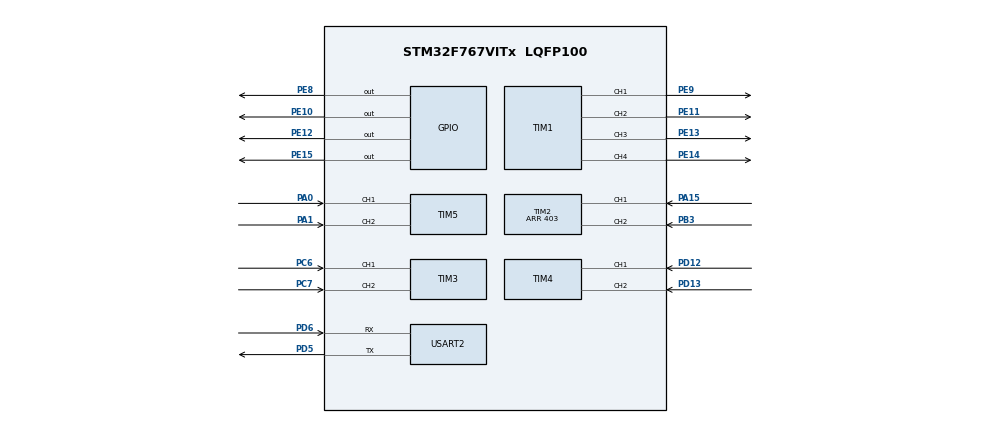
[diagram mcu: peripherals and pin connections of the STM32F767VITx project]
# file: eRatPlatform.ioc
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Mcu.Family=STM32F7
Mcu.Name=STM32F767VITx
Mcu.Package=LQFP100
NVIC.PriorityGroup=NVIC_PRIORITYGROUP_4
PA0/WKUP.Signal=S_TIM5_CH1
PA1.Signal=S_TIM5_CH2
PA13.Mode=Serial_Wire
PA13.Signal=SYS_JTMS-SWDIO
PA14.Mode=Serial_Wire
PA14.Signal=SYS_JTCK-SWCLK
PA15.Signal=S_TIM2_CH1_ETR
PB3.Signal=S_TIM2_CH2
PC14/OSC32_IN.Mode=LSE-External-Oscillator
PC14/OSC32_IN.Signal=RCC_OSC32_IN
PC15/OSC32_OUT.Mode=LSE-External-Oscillator
PC15/OSC32_OUT.Signal=RCC_OSC32_OUT
PC6.Signal=S_TIM3_CH1
PC7.Signal=S_TIM3_CH2
PD12.Signal=S_TIM4_CH1
PD13.Signal=S_TIM4_CH2
PD5.Mode=Asynchronous
PD5.Signal=USART2_TX
PD6.Mode=Asynchronous
PD6.Signal=USART2_RX
PE10.Signal=GPIO_Output
PE11.Signal=S_TIM1_CH2
PE12.Signal=GPIO_Output
PE13.Signal=S_TIM1_CH3
PE14.Signal=S_TIM1_CH4
PE15.Signal=GPIO_Output
PE8.Signal=GPIO_Output
PE9.Signal=S_TIM1_CH1
PH0/OSC_IN.Mode=HSE-External-Oscillator
PH0/OSC_IN.Signal=RCC_OSC_IN
PH1/OSC_OUT.Mode=HSE-External-Oscillator
PH1/OSC_OUT.Signal=RCC_OSC_OUT
ProjectManager.HeapSize=0x200
ProjectManager.StackSize=0x400
ProjectManager.TargetToolchain=SW4STM32
RCC.HSE_VALUE=25000000
RCC.HSI_VALUE=16000000
RCC.PLLM=15
RCC.PLLN=144
RCC.PLLQ=5
RCC.PLLSourceVirtual=RCC_PLLSOURCE_HSE
RCC.USBFreq_Value=48000000
RCC.VCOOutputFreq_Value=240000000
SH.S_TIM1_CH1.0=TIM1_CH1,PWM Generation1 CH1
SH.S_TIM1_CH2.0=TIM1_CH2,PWM Generation2 CH2
SH.S_TIM1_CH3.0=TIM1_CH3,PWM Generation3 CH3
SH.S_TIM1_CH4.0=TIM1_CH4,PWM Generation4 CH4
SH.S_TIM2_CH1_ETR.0=TIM2_CH1,Encoder_Interface
SH.S_TIM2_CH2.0=TIM2_CH2,Encoder_Interface
SH.S_TIM3_CH1.0=TIM3_CH1,Encoder_Interface
SH.S_TIM3_CH2.0=TIM3_CH2,Encoder_Interface
SH.S_TIM4_CH1.0=TIM4_CH1,Encoder_Interface
SH.S_TIM4_CH2.0=TIM4_CH2,Encoder_Interface
SH.S_TIM5_CH1.0=TIM5_CH1,Encoder_Interface
SH.S_TIM5_CH2.0=TIM5_CH2,Encoder_Interface
TIM1.Channel-PWM\ Generation1\ CH1=TIM_CHANNEL_1
TIM1.Channel-PWM\ Generation2\ CH2=TIM_CHANNEL_2
TIM1.Channel-PWM\ Generation3\ CH3=TIM_CHANNEL_3
TIM1.Channel-PWM\ Generation4\ CH4=TIM_CHANNEL_4
TIM2.IC2Filter=15
TIM2.Period=403
USART2.VirtualMode-Asynchronous=VM_ASYNC
board=custom

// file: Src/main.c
/**
  ******************************************************************************
  * @file           : main.c
  * @brief          : Main program body
  ******************************************************************************
  ** This notice applies to any and all portions of this file
  * that are not between comment pairs USER CODE BEGIN and
  * USER CODE END. Other portions of this file, whether
  * inserted by the user or by software development tools
  * are owned by their respective copyright owners.
  *
  * COPYRIGHT(c) 2018 STMicroelectronics
  *
  * Redistribution and use in source and binary forms, with or without modification,
  * are permitted provided that the following conditions are met:
  *   1. Redistributions of source code must retain the above copyright notice,
  *      this list of conditions and the following disclaimer.
  *   2. Redistributions in binary form must reproduce the above copyright notice,
  *      this list of conditions and the following disclaimer in the documentation
  *      and/or other materials provided with the distribution.
  *   3. Neither the name of STMicroelectronics nor the names of its contributors
  *      may be used to endorse or promote products derived from this software
  *      without specific prior written permission.
  *
  * THIS SOFTWARE IS PROVIDED BY THE COPYRIGHT HOLDERS AND CONTRIBUTORS "AS IS"
  * AND ANY EXPRESS OR IMPLIED WARRANTIES, INCLUDING, BUT NOT LIMITED TO, THE
  * IMPLIED WARRANTIES OF MERCHANTABILITY AND FITNESS FOR A PARTICULAR PURPOSE ARE
  * DISCLAIMED. IN NO EVENT SHALL THE COPYRIGHT HOLDER OR CONTRIBUTORS BE LIABLE
  * FOR ANY DIRECT, INDIRECT, INCIDENTAL, SPECIAL, EXEMPLARY, OR CONSEQUENTIAL
  * DAMAGES (INCLUDING, BUT NOT LIMITED TO, PROCUREMENT OF SUBSTITUTE GOODS OR
  * SERVICES; LOSS OF USE, DATA, OR PROFITS; OR BUSINESS INTERRUPTION) HOWEVER
  * CAUSED AND ON ANY THEORY OF LIABILITY, WHETHER IN CONTRACT, STRICT LIABILITY,
  * OR TORT (INCLUDING NEGLIGENCE OR OTHERWISE) ARISING IN ANY WAY OUT OF THE USE
  * OF THIS SOFTWARE, EVEN IF ADVISED OF THE POSSIBILITY OF SUCH DAMAGE.
  *
  ******************************************************************************
  */
#include "main.h"
#include "stm32f7xx_hal.h"
#include "tim.h"
#include "usart.h"
#include "gpio.h"

/* USER CODE BEGIN Includes */

#include "WheelDriveSystem.h"

/* USER CODE END Includes */

/* USER CODE BEGIN PV */
/* Private variables ---------------------------------------------------------*/

volatile int16_t encoderFL; //TIM2
volatile int16_t encoderRL; //TIM3
volatile int16_t encoderFR; //TIM4
volatile int16_t encoderRR; //TIM5

volatile int16_t pwm_value;
volatile int16_t step;

/* USER CODE END PV */

void SystemClock_Config(void);

/* USER CODE BEGIN PFP */
/* Private function prototypes -----------------------------------------------*/

/* USER CODE END PFP */

/* USER CODE BEGIN 0 */

void user_pwm_setvalue(uint16_t value)
{
    TIM_OC_InitTypeDef sConfigOC;

    sConfigOC.OCMode = TIM_OCMODE_PWM1;
    sConfigOC.Pulse = value;
    sConfigOC.OCPolarity = TIM_OCPOLARITY_HIGH;
    sConfigOC.OCFastMode = TIM_OCFAST_DISABLE;
    HAL_TIM_PWM_ConfigChannel(&htim1, &sConfigOC, TIM_CHANNEL_1);
    HAL_TIM_PWM_Start(&htim1, TIM_CHANNEL_1);
    HAL_TIM_PWM_ConfigChannel(&htim1, &sConfigOC, TIM_CHANNEL_2);
    HAL_TIM_PWM_Start(&htim1, TIM_CHANNEL_2);
    HAL_TIM_PWM_ConfigChannel(&htim1, &sConfigOC, TIM_CHANNEL_3);
    HAL_TIM_PWM_Start(&htim1, TIM_CHANNEL_3);
    HAL_TIM_PWM_ConfigChannel(&htim1, &sConfigOC, TIM_CHANNEL_4);
    HAL_TIM_PWM_Start(&htim1, TIM_CHANNEL_4);
}

void send_string(char* s)
{
	HAL_UART_Transmit(&huart2, (uint8_t*)s, strlen(s), 1000);
}

/* USER CODE END 0 */

int main(void)
{

  /* MCU Configuration----------------------------------------------------------*/

  /* Reset of all peripherals, Initializes the Flash interface and the Systick. */
  HAL_Init();

  /* USER CODE BEGIN Init */

  WheelDrive_Begin(&wheel_drive_configFL, Tim1, TIM_CHANNEL_1);

  /* USER CODE END Init */

  /* Configure the system clock */
  SystemClock_Config();

  /* Initialize all configured peripherals */
  MX_GPIO_Init();

  MX_TIM1_Init();
  MX_TIM2_Init();
  MX_TIM3_Init();
  MX_TIM4_Init();
  MX_TIM5_Init();
  MX_USART2_UART_Init();
  /* USER CODE BEGIN 2 */

  HAL_TIM_Encoder_Start(&htim2, TIM_CHANNEL_1 | TIM_CHANNEL_2);
  HAL_TIM_Encoder_Start(&htim3, TIM_CHANNEL_1 | TIM_CHANNEL_2);
  HAL_TIM_Encoder_Start(&htim4, TIM_CHANNEL_1 | TIM_CHANNEL_2);
  HAL_TIM_Encoder_Start(&htim5, TIM_CHANNEL_1 | TIM_CHANNEL_2);

  //HAL_TIM_PWM_Start(&htim1, TIM_CHANNEL_1);
  //HAL_TIM_PWM_Start(&htim1, TIM_CHANNEL_2);
  //HAL_TIM_PWM_Start(&htim1, TIM_CHANNEL_3);
  //HAL_TIM_PWM_Start(&htim1, TIM_CHANNEL_4);
  /* USER CODE END 2 */

  /* Infinite loop */
  while (1)
  {
	  encoderFL = -TIM2->CNT;
	  encoderRL = -TIM3->CNT;
	  encoderFR = TIM4->CNT;
	  encoderRR = TIM5->CNT;

	  HAL_GPIO_WritePin(GPIOE, GPIO_PIN_8,GPIO_PIN_SET);
	  HAL_GPIO_WritePin(GPIOE, GPIO_PIN_10,GPIO_PIN_SET);
	  HAL_GPIO_WritePin(GPIOE, GPIO_PIN_12,GPIO_PIN_SET);
	  HAL_GPIO_WritePin(GPIOE, GPIO_PIN_15,GPIO_PIN_SET);

	  HAL_Delay(100);
	  if(pwm_value == 0) step = 100;
	  if(pwm_value == 2000) step = -100;
	  pwm_value += 0;
	  //user_pwm_setvalue(pwm_value);

	  /*send_string("Hello world!\r\n");
	  HAL_Delay(100);*/
  }

}

void SystemClock_Config(void)
{

  RCC_OscInitTypeDef RCC_OscInitStruct;
  RCC_ClkInitTypeDef RCC_ClkInitStruct;
  RCC_PeriphCLKInitTypeDef PeriphClkInitStruct;

    /**Configure the main internal regulator output voltage
    */
  __HAL_RCC_PWR_CLK_ENABLE();

  __HAL_PWR_VOLTAGESCALING_CONFIG(PWR_REGULATOR_VOLTAGE_SCALE3);

    /**Initializes the CPU, AHB and APB busses clocks
    */
  RCC_OscInitStruct.OscillatorType = RCC_OSCILLATORTYPE_HSI;
  RCC_OscInitStruct.HSIState = RCC_HSI_ON;
  RCC_OscInitStruct.HSICalibrationValue = 16;
  RCC_OscInitStruct.PLL.PLLState = RCC_PLL_NONE;
  if (HAL_RCC_OscConfig(&RCC_OscInitStruct) != HAL_OK)
  {
    _Error_Handler(__FILE__, __LINE__);
  }

    /**Initializes the CPU, AHB and APB busses clocks
    */
  RCC_ClkInitStruct.ClockType = RCC_CLOCKTYPE_HCLK|RCC_CLOCKTYPE_SYSCLK
                              |RCC_CLOCKTYPE_PCLK1|RCC_CLOCKTYPE_PCLK2;
  RCC_ClkInitStruct.SYSCLKSource = RCC_SYSCLKSOURCE_HSI;
  RCC_ClkInitStruct.AHBCLKDivider = RCC_SYSCLK_DIV1;
  RCC_ClkInitStruct.APB1CLKDivider = RCC_HCLK_DIV1;
  RCC_ClkInitStruct.APB2CLKDivider = RCC_HCLK_DIV1;

  if (HAL_RCC_ClockConfig(&RCC_ClkInitStruct, FLASH_LATENCY_0) != HAL_OK)
  {
    _Error_Handler(__FILE__, __LINE__);
  }

  PeriphClkInitStruct.PeriphClockSelection = RCC_PERIPHCLK_USART2;
  PeriphClkInitStruct.Usart2ClockSelection = RCC_USART2CLKSOURCE_PCLK1;
  if (HAL_RCCEx_PeriphCLKConfig(&PeriphClkInitStruct) != HAL_OK)
  {
    _Error_Handler(__FILE__, __LINE__);
  }

    /**Configure the Systick interrupt time
    */
  HAL_SYSTICK_Config(HAL_RCC_GetHCLKFreq()/1000);

    /**Configure the Systick
    */
  HAL_SYSTICK_CLKSourceConfig(SYSTICK_CLKSOURCE_HCLK);

  /* SysTick_IRQn interrupt configuration */
  HAL_NVIC_SetPriority(SysTick_IRQn, 0, 0);
}

void _Error_Handler(char *file, int line)
{
  while(1)
  {
  }
}

/************************ (C) COPYRIGHT STMicroelectronics *****END OF FILE****/
